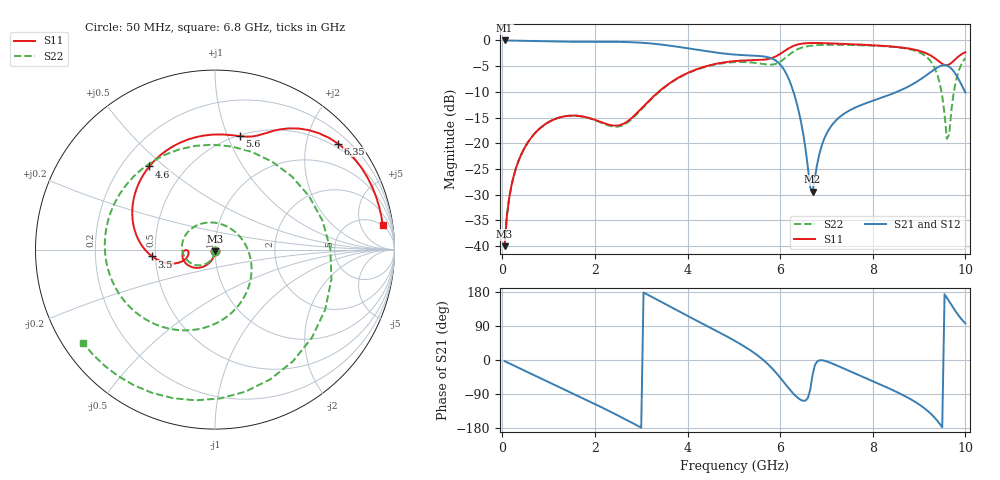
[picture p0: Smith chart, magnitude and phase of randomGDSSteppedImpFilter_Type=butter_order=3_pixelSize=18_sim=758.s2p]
! freq	dB(S11)	phase(S11)	dB(S12)	phase(S12)
!  dB(S21)	phase(S21)	dB(S22)	phase(S22)
!S-par simulation data
#  GHz  S  DB  R 50
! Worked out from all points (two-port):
!   200 points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, 50 MHz to 10 GHz, reference 50 ohm
!   highest |S21| = 0.00 dB at 50 MHz (marker M1); lowest = -29.4 dB at 6.7 GHz (marker M2)
!   |S21| within 3 dB of the highest: start of sweep to 5.52 GHz
!   lowest |S11| = -40.0 dB at 50 MHz (marker M3), VSWR 1.02, Z = 49.9 - j0.997 ohm
!   |S11| at or under -10 dB: start of sweep to 3.374 GHz
!   |S22| runs from -39.9 to -0.8 dB; largest |S21 - S12| = 0
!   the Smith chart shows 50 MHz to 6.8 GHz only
!   S11 on the Smith chart (normalised r, x): 50 MHz: 1.00, -0.02; 3.5 GHz: 0.48, -0.04; 4.6 GHz: 0.31, +0.45; 5.6 GHz: 0.51, +1.11; 6.35 GHz: 0.40, +2.64; 6.8 GHz: 5, +12
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0.05  -40.01 -92.7  -0.00 -3.0  -0.00 -3.0  -39.93 -92.5
0.2  -28.11 -100.9  -0.02 -11.8  -0.02 -11.8  -28.11 -102.9
0.5  -20.59 -117.2  -0.08 -29.3  -0.08 -29.3  -20.60 -122.3
1.75  -14.80 -173.1  -0.27 -101.4  -0.27 -101.4  -14.84 149.3
2.65  -16.04 -165.9  -0.30 -156.1  -0.30 -156.1  -16.28 32.2
3.4  -9.80 -169.8  -0.77 155.3  -0.77 155.3  -9.90 -61.6
3.5  -9.07 -173.8  -0.88 148.8  -0.88 148.8  -9.16 -70.5
4.6  -4.58 128.3  -2.35 78.4  -2.35 78.4  -4.68 -152.2
5.05  -3.99 103.6  -2.77 48.5  -2.77 48.5  -4.21 173.5
5.6  -3.78 77.5  -3.06 3.7  -3.06 3.7  -4.54 109.7
5.85  -3.33 69.1  -3.63 -25.2  -3.63 -25.2  -4.67 56.9
6.05  -2.32 61.2  -5.23 -54.0  -5.23 -54.0  -3.84 0.2
6.35  -0.87 40.7  -11.94 -96.5  -11.94 -96.5  -1.84 -77.9
6.7  -0.49 14.9  -29.40 -39.2  -29.40 -39.2  -0.98 -133.6
6.8  -0.49 8.2  -24.04 -3.8  -24.04 -3.8  -0.91 -144.7
7.45  -0.70 -30.6  -13.85 -26.5  -13.85 -26.5  -0.87 165.2
8.35  -1.14 -79.1  -10.61 -74.8  -10.61 -74.8  -1.18 114.6
9.25  -2.94 -127.9  -6.15 -141.4  -6.15 -141.4  -4.05 45.5
9.45  -4.23 -134.5  -5.00 -169.0  -5.00 -169.0  -8.46 11.5
9.6  -4.81 -132.4  -4.88 164.1  -4.88 164.1  -19.12 -64.6
9.8  -3.52 -132.6  -6.71 126.4  -6.71 126.4  -7.70 155.1
10  -2.28 -144.5  -10.13 96.5  -10.13 96.5  -3.42 120.0
